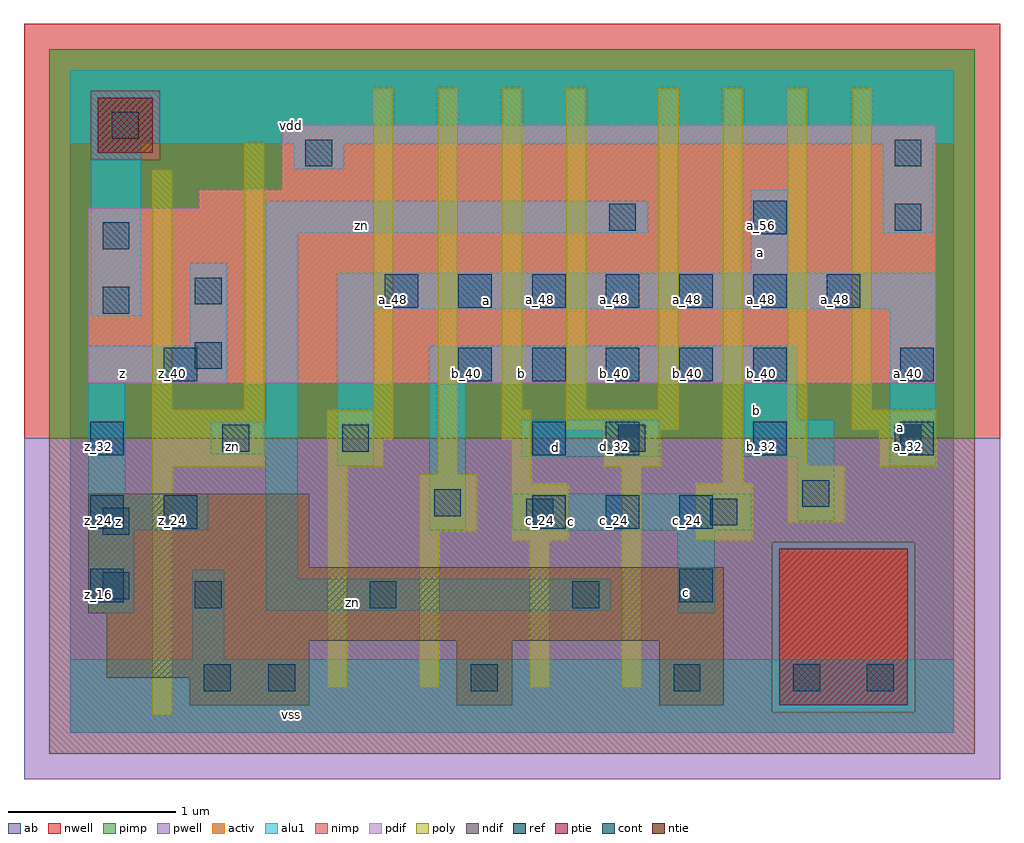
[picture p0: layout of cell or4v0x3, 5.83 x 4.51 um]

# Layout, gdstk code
import gdstk
lib = gdstk.Library(unit=1e-6, precision=2.5e-09)
def R(c, l, rs):  # rectangles x0, y0, x1, y1
    for r in rs: c.add(gdstk.rectangle(r[:2], r[2:], *l))
def A(c, l, x, y, w, h, nx, ny, dx, dy):  # array of equal rectangles
    R(c, l, [(x+i*dx, y+j*dy, x+i*dx+w, y+j*dy+h) for i in range(nx) for j in range(ny)])
ndif = (3, 0)
pdif = (4, 0)
ntie = (5, 0)
ptie = (6, 0)
ref = (24, 0)
cont = (25, 0)
pwell = (41, 0)
nwell = (42, 0)
activ = (43, 0)
pimp = (44, 0)
nimp = (45, 0)
poly = (46, 0)
alu1 = (49, 0)
ab = (63, 0)

or4v0x3 = lib.new_cell('or4v0x3')
R(or4v0x3, ndif, [(0.715,0.165,1.43,0.33), (2.31,0.165,2.64,0.55), (3.52,0.165,3.905,0.55), (0.22,0.33,1.43,0.55), (0.22,0.55,3.905,0.715), (0.11,0.715,3.905,0.99), (0.11,0.99,1.43,1.43)])
R(or4v0x3, pdif, [(0.11,2.09,5.17,3.135), (0.77,3.135,5.17,3.245), (1.265,3.245,5.17,3.63)])
R(or4v0x3, ntie, [(0.165,3.465,0.495,3.795)])
R(or4v0x3, ptie, [(4.235,0.165,5.005,1.1)])
A(or4v0x3, ref, 0.12, 0.78, 0.2, 0.2, 1, 3, 0, 0.44)
A(or4v0x3, ref, 2.76, 1.22, 0.2, 0.2, 3, 1, 0.44, 0)
A(or4v0x3, ref, 3.2, 1.66, 0.2, 0.2, 3, 1, 0.88, 0)
A(or4v0x3, ref, 2.32, 2.1, 0.2, 0.2, 5, 1, 0.44, 0)
A(or4v0x3, ref, 1.88, 2.54, 0.2, 0.2, 7, 1, 0.44, 0)
R(or4v0x3, ref, [(3.64,0.78,3.84,0.98), (0.56,1.22,0.76,1.42), (2.76,1.66,2.96,1.86), (0.56,2.1,0.76,2.3), (4.96,2.1,5.16,2.3), (4.08,2.98,4.28,3.18)])
A(or4v0x3, cont, 1.185, 0.25, 0.16, 0.16, 3, 1, 1.21, 0)
A(or4v0x3, cont, 1.625, 1.68, 0.16, 0.16, 3, 1, 1.65, 0)
R(or4v0x3, cont, [(0.8,0.25,0.96,0.41), (4.32,0.25,4.48,0.41), (4.76,0.25,4.92,0.41), (0.745,0.745,0.905,0.905), (1.79,0.745,1.95,0.905), (3,0.745,3.16,0.905), (0.195,0.8,0.355,0.96), (0.195,1.185,0.355,1.345), (2.725,1.24,2.885,1.4), (3.825,1.24,3.985,1.4), (2.175,1.295,2.335,1.455), (4.375,1.35,4.535,1.51), (0.91,1.68,1.07,1.84), (0.745,2.175,0.905,2.335), (0.195,2.505,0.355,2.665), (0.745,2.56,0.905,2.72), (0.195,2.89,0.355,3.05), (3.22,3,3.38,3.16), (4.925,3,5.085,3.16), (1.405,3.385,1.565,3.545), (4.925,3.385,5.085,3.545), (0.25,3.55,0.41,3.71)])
R(or4v0x3, pwell, [(-0.275,-0.275,5.555,1.76)])
R(or4v0x3, nwell, [(-0.275,1.76,5.555,4.235)])
R(or4v0x3, activ, [(0.715,0.165,1.43,0.33), (2.31,0.165,2.64,0.55), (3.52,0.165,3.905,0.55), (4.235,0.165,5.005,1.1), (0.22,0.33,1.43,0.55), (0.22,0.55,3.905,0.715), (0.11,0.715,3.905,0.99), (0.11,0.99,1.43,1.43), (0.11,2.09,5.17,3.135), (0.77,3.135,5.17,3.245), (1.265,3.245,5.17,3.63), (0.165,3.465,0.495,3.795)])
R(or4v0x3, pimp, [(4.195,0.125,5.045,1.14), (-0.125,1.76,5.405,3.425), (-0.125,3.425,0.125,3.835), (0.535,3.425,5.405,3.835), (-0.125,3.835,5.405,4.085)])
R(or4v0x3, nimp, [(-0.125,-0.125,5.405,0.125), (-0.125,0.125,4.195,1.14), (5.045,0.125,5.405,1.14), (-0.125,1.14,5.405,1.76), (0.125,3.425,0.535,3.835)])
R(or4v0x3, poly, [(0.49,0.105,0.61,1.59), (1.535,0.27,1.655,1.59), (2.085,0.27,2.205,1.205), (2.745,0.27,2.865,1.15), (3.295,0.27,3.415,1.59), (2.635,1.15,2.975,1.49), (3.735,1.15,4.075,1.49), (2.085,1.205,2.425,1.545), (4.285,1.26,4.625,1.6), (2.635,1.49,2.755,1.755), (3.9,1.49,4.02,3.855), (2.195,1.545,2.315,3.855), (0.49,1.59,1.16,1.93), (1.535,1.59,1.875,1.755), (3.185,1.59,3.525,1.81), (4.835,1.59,5.175,1.81), (4.285,1.6,4.405,3.855), (1.535,1.755,1.93,1.93), (2.58,1.755,2.755,1.93), (2.965,1.81,3.635,1.93), (4.67,1.81,5.175,1.93), (0.49,1.93,0.61,3.36), (1.04,1.93,1.16,3.525), (1.81,1.93,1.93,3.855), (2.58,1.93,2.7,3.855), (2.965,1.93,3.085,3.855), (3.515,1.93,3.635,3.855), (4.67,1.93,4.79,3.855)])
R(or4v0x3, alu1, [(0,0,5.28,0.44), (0.73,0.44,0.92,0.975), (0.11,0.715,0.385,1.21), (3.63,0.715,3.85,1.21), (1.17,0.73,3.23,0.92), (1.17,0.92,1.36,1.665), (0.11,1.21,0.825,1.43), (2.145,1.21,2.365,2.09), (2.64,1.21,4.07,1.43), (4.345,1.265,4.565,1.65), (0.11,1.43,0.33,2.09), (1.595,1.595,1.815,2.53), (4.895,1.595,5.17,2.53), (2.695,1.65,3.52,1.87), (4.015,1.65,4.565,1.87), (0.84,1.665,1.36,1.855), (1.17,1.855,1.36,2.985), (4.015,1.87,4.345,2.09), (0.11,2.09,0.935,2.31), (2.145,2.09,4.345,2.31), (0.715,2.31,0.935,2.805), (0.125,2.49,0.425,3.52), (1.595,2.53,5.17,2.75), (4.07,2.75,4.29,3.245), (1.17,2.985,3.45,3.175), (4.855,2.985,5.155,3.52), (1.335,3.37,1.635,3.52), (0,3.52,5.28,3.96)])
R(or4v0x3, ab, [(0,0,5.28,3.96)])
or4v0x3.add(gdstk.Label('vss', (1.32,0.11), layer=49, texttype=0))
or4v0x3.add(gdstk.Label('c', (3.685,0.8375), layer=49, texttype=0))
or4v0x3.add(gdstk.Label('zn', (1.685,0.7775), layer=49, texttype=0))
or4v0x3.add(gdstk.Label('a', (4.9625,1.8275), layer=49, texttype=0))
or4v0x3.add(gdstk.Label('c', (2.9975,1.265), layer=49, texttype=0))
or4v0x3.add(gdstk.Label('d', (2.9,1.705), layer=49, texttype=0))
or4v0x3.add(gdstk.Label('b', (4.0975,1.925), layer=49, texttype=0))
or4v0x3.add(gdstk.Label('b', (2.695,2.145), layer=49, texttype=0))
or4v0x3.add(gdstk.Label('a', (2.4875,2.585), layer=49, texttype=0))
or4v0x3.add(gdstk.Label('z', (0.2875,1.265), layer=49, texttype=0))
or4v0x3.add(gdstk.Label('zn', (0.97,1.7125), layer=49, texttype=0))
or4v0x3.add(gdstk.Label('a', (4.125,2.8725), layer=49, texttype=0))
or4v0x3.add(gdstk.Label('z', (0.315,2.145), layer=49, texttype=0))
or4v0x3.add(gdstk.Label('zn', (1.74,3.0325), layer=49, texttype=0))
or4v0x3.add(gdstk.Label('vdd', (1.32,3.63), layer=49, texttype=0))
or4v0x3.add(gdstk.Label('z_24', (0.61,1.27), layer=24, texttype=0))
or4v0x3.add(gdstk.Label('z_40', (0.61,2.15), layer=24, texttype=0))
or4v0x3.add(gdstk.Label('a_48', (1.93,2.59), layer=24, texttype=0))
or4v0x3.add(gdstk.Label('z_16', (0.17,0.83), layer=24, texttype=0))
or4v0x3.add(gdstk.Label('z_24', (0.17,1.27), layer=24, texttype=0))
or4v0x3.add(gdstk.Label('z_32', (0.17,1.71), layer=24, texttype=0))
or4v0x3.add(gdstk.Label('b_40', (2.37,2.15), layer=24, texttype=0))
or4v0x3.add(gdstk.Label('a_48', (2.37,2.59), layer=24, texttype=0))
or4v0x3.add(gdstk.Label('c_24', (2.81,1.27), layer=24, texttype=0))
or4v0x3.add(gdstk.Label('d_32', (2.81,1.71), layer=24, texttype=0))
or4v0x3.add(gdstk.Label('b_40', (2.81,2.15), layer=24, texttype=0))
or4v0x3.add(gdstk.Label('a_48', (2.81,2.59), layer=24, texttype=0))
or4v0x3.add(gdstk.Label('c_24', (3.25,1.27), layer=24, texttype=0))
or4v0x3.add(gdstk.Label('d_32', (3.25,1.71), layer=24, texttype=0))
or4v0x3.add(gdstk.Label('b_40', (3.25,2.15), layer=24, texttype=0))
or4v0x3.add(gdstk.Label('a_48', (3.25,2.59), layer=24, texttype=0))
or4v0x3.add(gdstk.Label('c_16', (3.69,0.83), layer=24, texttype=0))
or4v0x3.add(gdstk.Label('c_24', (3.69,1.27), layer=24, texttype=0))
or4v0x3.add(gdstk.Label('b_40', (3.69,2.15), layer=24, texttype=0))
or4v0x3.add(gdstk.Label('a_48', (3.69,2.59), layer=24, texttype=0))
or4v0x3.add(gdstk.Label('b_32', (4.13,1.71), layer=24, texttype=0))
or4v0x3.add(gdstk.Label('b_40', (4.13,2.15), layer=24, texttype=0))
or4v0x3.add(gdstk.Label('a_48', (4.13,2.59), layer=24, texttype=0))
or4v0x3.add(gdstk.Label('a_56', (4.13,3.03), layer=24, texttype=0))
or4v0x3.add(gdstk.Label('a_48', (4.57,2.59), layer=24, texttype=0))
or4v0x3.add(gdstk.Label('a_32', (5.01,1.71), layer=24, texttype=0))
or4v0x3.add(gdstk.Label('a_40', (5.01,2.15), layer=24, texttype=0))

lib.write_gds('or4v0x3.gds')
